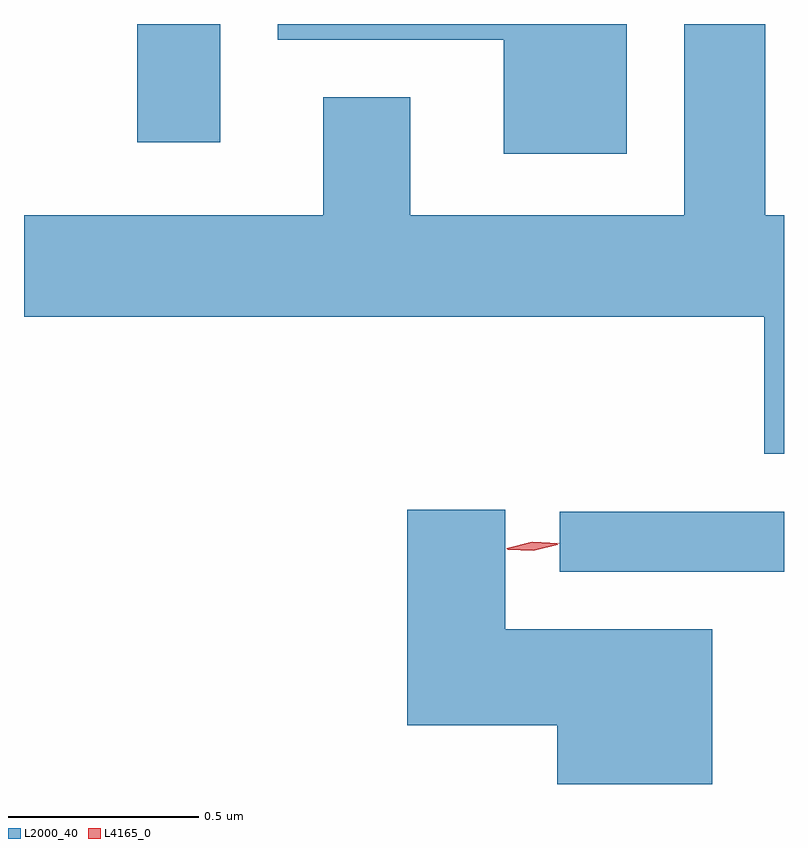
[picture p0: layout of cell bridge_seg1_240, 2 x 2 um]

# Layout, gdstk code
import gdstk
lib = gdstk.Library(unit=1e-6, precision=1e-09)
def R(c, l, rs):  # rectangles x0, y0, x1, y1
    for r in rs: c.add(gdstk.rectangle(r[:2], r[2:], *l))
def P(c, l, *ps):  # polygons
    for p in ps: c.add(gdstk.Polygon(p, *l))
L2000_40 = (2000, 40)
L4165_0 = (4165, 0)

bridge_seg1_240 = lib.new_cell('bridge_seg1_240')
R(bridge_seg1_240, L2000_40, [(776.218,896.686,776.808,896.844), (775.106,897.816,775.324,898.127)])
P(bridge_seg1_240, L2000_40, [(776.808,897.624),(776.759,897.624),(776.759,898.127),(776.546,898.127),(776.546,897.624),(775.824,897.624),(775.824,897.934),(775.596,897.934),(775.596,897.624),(774.808,897.624),(774.808,897.356),(776.756,897.356),(776.756,896.996),(776.808,896.996)],
  [(776.394,898.127),(775.476,898.127),(775.476,898.086),(776.071,898.086),(776.071,897.786),(776.394,897.786)],
  [(776.619,896.534),(776.074,896.534),(776.074,896.849),(775.816,896.849),(775.816,896.281),(776.211,896.281),(776.211,896.127),(776.619,896.127)])
P(bridge_seg1_240, L4165_0, [(776.148,896.741),(776.081,896.744),(776.081,896.745),(776.081,896.745),(776.146,896.761),(776.212,896.758),(776.213,896.758),(776.212,896.757)],
  [(776.148,896.744),(776.078,896.746),(776.078,896.747),(776.078,896.748),(776.146,896.764),(776.215,896.761),(776.216,896.76),(776.215,896.76)])

lib.write_gds('bridge_seg1_240.gds')
